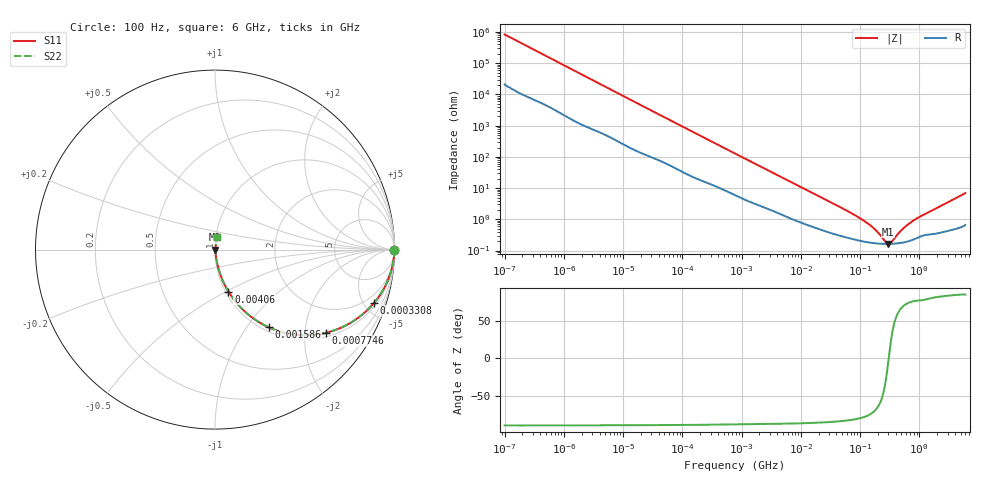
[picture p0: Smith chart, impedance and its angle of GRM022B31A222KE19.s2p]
!Murata Part Number: GRM022B31A222KE19
!These Parameters are Measured in Series Mode Connection
!Data Generated on Mar 30, 2021
!  o--ll--o
!Port1  Port2
!  o------o
!Operation Temp=25[degC], DC Bias Voltage=0[V]
!Freq. Start=100[Hz] Stop=6[GHz] 401[Steps]
# Hz S RI R 50
!Freq.(Hz) S11(Real) S11(Imag) S21(Real) S21(Imag) S12(Real) S12(Imag) S22(Real) S22(Imag)
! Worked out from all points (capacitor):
!   401 points, 100 Hz to 6 GHz, reference 50 ohm
!   read as one part in series: C = 1.89 nF near 109 Hz
!   lowest |Z| = 164 mohm at 298.8 MHz (marker M1)
!   series resonance near 304.4 MHz, so ESL is about 140 pH
!   S11 on the Smith chart (normalised r, x): 100 Hz: open; 330.8 kHz: 1.25, -5.85; 774.6 kHz: 1.12, -2.56; 1.586 MHz: 1.07, -1.28; 4.06 MHz: 1.03, -0.52; 6 GHz: 1.01, +0.14
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100  1 -0.00012  3e-06 0.00012  3e-06 0.00012  1 -0.00012
2008  0.9999 -0.00229  6.18e-05 0.00229  6.18e-05 0.00229  0.9999 -0.00229
40335  0.9966 -0.0434  0.00336 0.0434  0.00336 0.0434  0.9966 -0.0434
123542  0.979 -0.1269  0.021 0.1269  0.021 0.1269  0.979 -0.1269
330837  0.8857 -0.2978  0.1143 0.2978  0.1143 0.2978  0.8857 -0.2978
495019  0.7867 -0.3879  0.2133 0.3879  0.2133 0.3879  0.7867 -0.3879
774597  0.6168 -0.4637  0.3832 0.4637  0.3832 0.4637  0.6168 -0.4637
1108252  0.4526 -0.4744  0.5474 0.4744  0.5474 0.4744  0.4526 -0.4744
1585629  0.2991 -0.433  0.7009 0.433  0.7009 0.433  0.2991 -0.433
2481164  0.1602 -0.3394  0.8398 0.3394  0.8398 0.3394  0.1602 -0.3394
4060267  0.0752 -0.2344  0.9248 0.2344  0.9248 0.2344  0.0752 -0.2344
1.555665e7  0.0106 -0.0694  0.9894 0.0694  0.9894 0.0694  0.0106 -0.0694
5.960426e7  0.00294 -0.0187  0.9971 0.0187  0.9971 0.0187  0.00294 -0.0187
1.166697e8  0.002 -0.00873  0.998 0.00873  0.998 0.00873  0.002 -0.00873
1.745687e8  0.00174 -0.00464  0.9983 0.00464  0.9983 0.00464  0.00174 -0.00464
2.731619e8  0.00163 -0.000864  0.9984 0.000864  0.9984 0.000864  0.00163 -0.000864
2.987521e8  0.00163 -0.000147  0.9984 0.000147  0.9984 0.000147  0.00163 -0.000147
3.124326e8  0.00163 0.000211  0.9984 -0.000211  0.9984 -0.000211  0.00163 0.000211
3.417016e8  0.00164 0.000929  0.9984 -0.000929  0.9984 -0.000929  0.00164 0.000929
5.346885e8  0.00183 0.00474  0.9982 -0.00474  0.9982 -0.00474  0.00183 0.00474
8.000355e8  0.00233 0.00885  0.9977 -0.00885  0.9977 -0.00885  0.00233 0.00885
6e9  0.0113 0.0683  0.9887 -0.0683  0.9887 -0.0683  0.0113 0.0683
